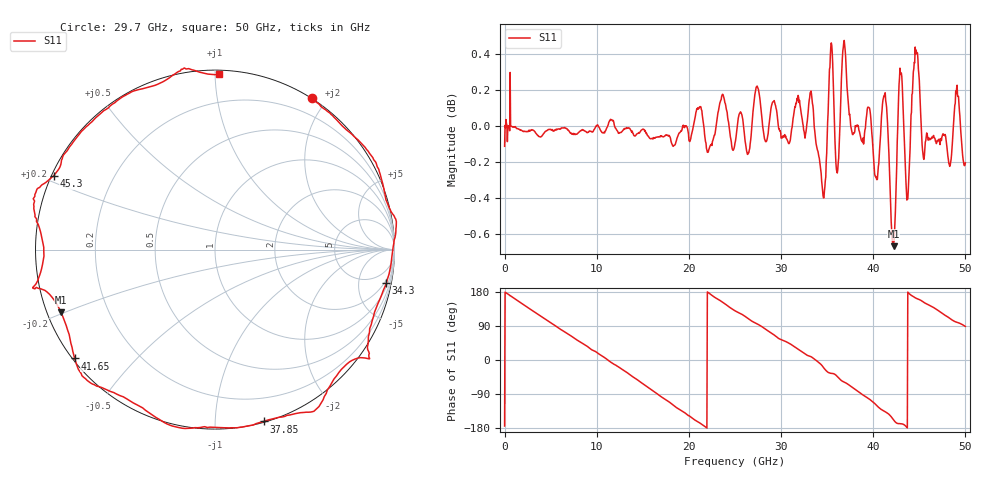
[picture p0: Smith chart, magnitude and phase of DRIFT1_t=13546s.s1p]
!Created with skrf (http://scikit-rf.org).
# Hz S RI R 50.0
!freq ReS11 ImS11
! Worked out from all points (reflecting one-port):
!   1001 points, 300 kHz to 50 GHz, reference 50 ohm
!   lowest |S11| = -0.7 dB at 42.2 GHz (marker M1), VSWR 25.95, Z = 2 - j9.76 ohm
!   phase of S11 starts at -174 deg and turns -817 deg over the sweep
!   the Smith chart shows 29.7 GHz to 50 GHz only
!   S11 on the Smith chart (normalised r, x): 29.7 GHz: 0.00, +1.83; 34.3 GHz: 1, -10; 37.85 GHz: 0.01, -1.32; 41.65 GHz: 0.01, -0.34; 45.3 GHz: 0.01, +0.22; 50 GHz: 0.02, +1.03
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300000  -0.982 -0.0975
1.500291e9  -0.9057 0.4187
3.30028e9  -0.5806 0.8094
6.250262e9  0.2027 0.9777
9.500243e9  0.8926 0.4422
1.250022e10  0.9319 -0.3503
1.580021e10  0.2365 -0.9632
1.74002e10  -0.2242 -0.9678
1.875019e10  -0.5991 -0.7915
2.150017e10  -0.9933 -0.151
2.350016e10  -0.9224 0.4278
2.500015e10  -0.6336 0.7593
2.740014e10  -0.0942 1.021
2.970012e10  0.5383 0.8427
3.125011e10  0.7868 0.62
3.31001e10  1.003 0.1766
3.430009e10  0.9544 -0.1856
3.520009e10  0.8561 -0.5679
3.750008e10  0.3716 -0.9329
3.785007e10  0.2705 -0.9576
3.960006e10  -0.2379 -0.9829
4.165005e10  -0.7817 -0.6066
4.220005e10  -0.8576 -0.3487
4.290004e10  -1.015 -0.2146
4.375004e10  -0.9541 0.0134
4.530003e10  -0.8986 0.4112
4.770001e10  -0.4885 0.866
5e10  0.0249 0.9762
